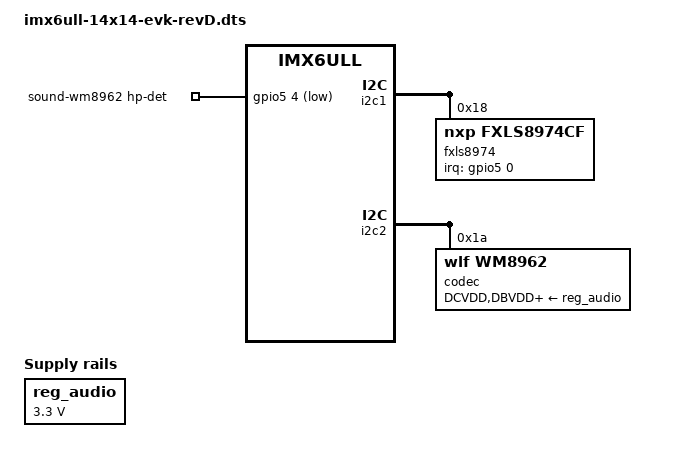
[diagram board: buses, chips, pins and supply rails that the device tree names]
// SPDX-License-Identifier: (GPL-2.0+ OR MIT)
/*
 * Copyright 2023 NXP
 */

#include "imx6ull-14x14-evk.dts"

/delete-node/ &codec;

/ {
	sound-wm8960 {
		status = "disabled";
	};

	reg_audio: regulator-audio-pwr {
		compatible = "regulator-fixed";
		regulator-name = "audio-pwr";
		regulator-min-microvolt = <3300000>;
		regulator-max-microvolt = <3300000>;
		regulator-always-on;
	};

	sound-wm8962 {
		compatible = "fsl,imx-audio-wm8962";
		model = "wm8962-audio";
		audio-cpu = <&sai2>;
		audio-codec = <&codec>;
		audio-asrc = <&asrc>;
		hp-det-gpio = <&gpio5 4 GPIO_ACTIVE_LOW>;
		audio-routing =
			"Headphone Jack", "HPOUTL",
			"Headphone Jack", "HPOUTR",
			"Ext Spk", "SPKOUTL",
			"Ext Spk", "SPKOUTR",
			"IN1L", "Mic Jack",
			"IN3L", "Mic Jack",
			"Mic Jack", "MICBIAS",
			"AMIC", "MICBIAS",
			"IN1R", "AMIC",
			"IN2R", "AMIC";
	};
};

&i2c1 {
	fxls8974@18 {
		compatible = "nxp,fxls8974cf";
		reg = <0x18>;
		interrupt-parent = <&gpio5>;
		interrupts = <0 8>;
	};
};

&i2c2 {
	codec: wm8962@1a {
		compatible = "wlf,wm8962";
		reg = <0x1a>;
		clocks = <&clks IMX6UL_CLK_SAI2>;
		DCVDD-supply = <&reg_audio>;
		DBVDD-supply = <&reg_audio>;
		AVDD-supply = <&reg_audio>;
		CPVDD-supply = <&reg_audio>;
		MICVDD-supply = <&reg_audio>;
		PLLVDD-supply = <&reg_audio>;
		SPKVDD1-supply = <&reg_audio>;
		SPKVDD2-supply = <&reg_audio>;
		gpio-cfg = <
			0x0000 /* 0:Default */
			0x0000 /* 1:Default */
			0x0000 /* 2:FN_DMICCLK */
			0x0000 /* 3:Default */
			0x0000 /* 4:FN_DMICCDAT */
			0x0000 /* 5:Default */
		>;
	};
};
